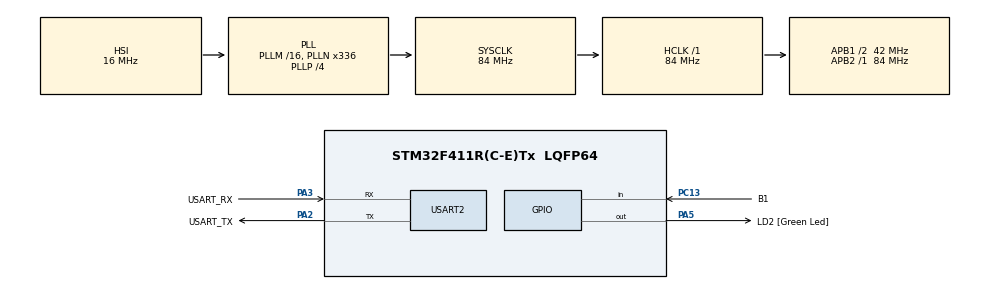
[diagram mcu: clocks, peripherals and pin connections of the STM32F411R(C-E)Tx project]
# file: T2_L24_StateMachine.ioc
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Mcu.Family=STM32F4
Mcu.Name=STM32F411R(C-E)Tx
Mcu.Package=LQFP64
NVIC.PriorityGroup=NVIC_PRIORITYGROUP_0
PA13.GPIO_Label=TMS
PA13.Mode=Serial_Wire
PA13.Signal=SYS_JTMS-SWDIO
PA14.GPIO_Label=TCK
PA14.Mode=Serial_Wire
PA14.Signal=SYS_JTCK-SWCLK
PA2.GPIO_Label=USART_TX
PA2.Mode=Asynchronous
PA2.Signal=USART2_TX
PA3.GPIO_Label=USART_RX
PA3.Mode=Asynchronous
PA3.Signal=USART2_RX
PA5.GPIO_Label=LD2 [Green Led]
PA5.Signal=GPIO_Output
PB3.GPIO_Label=SWO
PB3.Signal=SYS_JTDO-SWO
PC13-ANTI_TAMP.GPIO_Label=B1
PC13-ANTI_TAMP.Signal=GPIO_Input
PC14-OSC32_IN.Mode=LSE-External-Oscillator
PC14-OSC32_IN.Signal=RCC_OSC32_IN
PC15-OSC32_OUT.Mode=LSE-External-Oscillator
PC15-OSC32_OUT.Signal=RCC_OSC32_OUT
PH0\ -\ OSC_IN.Mode=HSE-External-Clock-Source
PH0\ -\ OSC_IN.Signal=RCC_OSC_IN
PH1\ -\ OSC_OUT.Mode=HSE-External-Clock-Source
PH1\ -\ OSC_OUT.Signal=RCC_OSC_OUT
ProjectManager.HeapSize=0x200
ProjectManager.StackSize=0x400
ProjectManager.TargetToolchain=STM32CubeIDE
RCC.48MHZClocksFreq_Value=84000000
RCC.AHBFreq_Value=84000000
RCC.APB1CLKDivider=RCC_HCLK_DIV2
RCC.APB1Freq_Value=42000000
RCC.APB1TimFreq_Value=84000000
RCC.APB2Freq_Value=84000000
RCC.APB2TimFreq_Value=84000000
RCC.CortexFreq_Value=84000000
RCC.FLatency-AdvancedSettings=FLASH_LATENCY_2
RCC.HCLKFreq_Value=84000000
RCC.HSE_VALUE=8000000
RCC.HSI_VALUE=16000000
RCC.PLLN=336
RCC.PLLP=RCC_PLLP_DIV4
RCC.SYSCLKFreq_VALUE=84000000
RCC.SYSCLKSource=RCC_SYSCLKSOURCE_PLLCLK
RCC.VCOOutputFreq_Value=336000000
USART2.VirtualMode=VM_ASYNC
board=NUCLEO-F411RE

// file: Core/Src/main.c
/* USER CODE BEGIN Header */
/**
  ******************************************************************************
  * @file           : main.c
  * @brief          : Main program body
  ******************************************************************************
  * @attention
  *
  * <h2><center>&copy; Copyright (c) 2020 STMicroelectronics.
  * All rights reserved.</center></h2>
  *
  * This software component is licensed by ST under BSD 3-Clause license,
  * the "License"; You may not use this file except in compliance with the
  * License. You may obtain a copy of the License at:
  *                        opensource.org/licenses/BSD-3-Clause
  *
  ******************************************************************************
  */
/* USER CODE END Header */
#include "main.h"
#include "usart.h"
#include "gpio.h"
#include "button.h"

/* USER CODE BEGIN PV */
extern TBUTTON BlueKey;
/* USER CODE END PV */

void SystemClock_Config(void);
/* USER CODE BEGIN PFP */
void TurnOnLed(void);
void TurnOffLed(void);
void ToggleLed(void);
/* USER CODE END PFP */

int main(void)
{

  /* MCU Configuration--------------------------------------------------------*/

  /* Reset of all peripherals, Initializes the Flash interface and the Systick. */
  HAL_Init();

  /* Configure the system clock */
  SystemClock_Config();

  /* Initialize all configured peripherals */
  MX_GPIO_Init();
  MX_USART2_UART_Init();
  /* USER CODE BEGIN 2 */
  ButtonInitKey(&BlueKey, B1_GPIO_Port, B1_Pin, 10, 30, 2000, 500);
  ButtonRegisterPressCallback(&BlueKey, TurnOnLed);
  ButtonRegisterLongPressCallback(&BlueKey, TurnOffLed);
  ButtonRegisterRepeatPressCallback(&BlueKey, ToggleLed);
  ButtonRegisterReleaseCallback(&BlueKey, TurnOffLed);
  /* USER CODE END 2 */

  /* Infinite loop */
  /* USER CODE BEGIN WHILE */
  while (1)
  {
	  ButtonTask(&BlueKey);
    /* USER CODE END WHILE */

  }
}

void SystemClock_Config(void)
{
  RCC_OscInitTypeDef RCC_OscInitStruct = {0};
  RCC_ClkInitTypeDef RCC_ClkInitStruct = {0};

  /** Configure the main internal regulator output voltage
  */
  __HAL_RCC_PWR_CLK_ENABLE();
  __HAL_PWR_VOLTAGESCALING_CONFIG(PWR_REGULATOR_VOLTAGE_SCALE1);
  /** Initializes the RCC Oscillators according to the specified parameters
  * in the RCC_OscInitTypeDef structure.
  */
  RCC_OscInitStruct.OscillatorType = RCC_OSCILLATORTYPE_HSI;
  RCC_OscInitStruct.HSIState = RCC_HSI_ON;
  RCC_OscInitStruct.HSICalibrationValue = RCC_HSICALIBRATION_DEFAULT;
  RCC_OscInitStruct.PLL.PLLState = RCC_PLL_ON;
  RCC_OscInitStruct.PLL.PLLSource = RCC_PLLSOURCE_HSI;
  RCC_OscInitStruct.PLL.PLLM = 16;
  RCC_OscInitStruct.PLL.PLLN = 336;
  RCC_OscInitStruct.PLL.PLLP = RCC_PLLP_DIV4;
  RCC_OscInitStruct.PLL.PLLQ = 4;
  if (HAL_RCC_OscConfig(&RCC_OscInitStruct) != HAL_OK)
  {
    Error_Handler();
  }
  /** Initializes the CPU, AHB and APB buses clocks
  */
  RCC_ClkInitStruct.ClockType = RCC_CLOCKTYPE_HCLK|RCC_CLOCKTYPE_SYSCLK
                              |RCC_CLOCKTYPE_PCLK1|RCC_CLOCKTYPE_PCLK2;
  RCC_ClkInitStruct.SYSCLKSource = RCC_SYSCLKSOURCE_PLLCLK;
  RCC_ClkInitStruct.AHBCLKDivider = RCC_SYSCLK_DIV1;
  RCC_ClkInitStruct.APB1CLKDivider = RCC_HCLK_DIV2;
  RCC_ClkInitStruct.APB2CLKDivider = RCC_HCLK_DIV1;

  if (HAL_RCC_ClockConfig(&RCC_ClkInitStruct, FLASH_LATENCY_2) != HAL_OK)
  {
    Error_Handler();
  }
}

/* USER CODE BEGIN 4 */
void TurnOnLed(void)
{
	HAL_GPIO_WritePin(LD2_GPIO_Port, LD2_Pin, GPIO_PIN_SET);
}

void TurnOffLed(void)
{
	HAL_GPIO_WritePin(LD2_GPIO_Port, LD2_Pin, GPIO_PIN_RESET);
}

void ToggleLed(void)
{
	HAL_GPIO_TogglePin(LD2_GPIO_Port, LD2_Pin);
}
/* USER CODE END 4 */

void Error_Handler(void)
{
}

/************************ (C) COPYRIGHT STMicroelectronics *****END OF FILE****/
